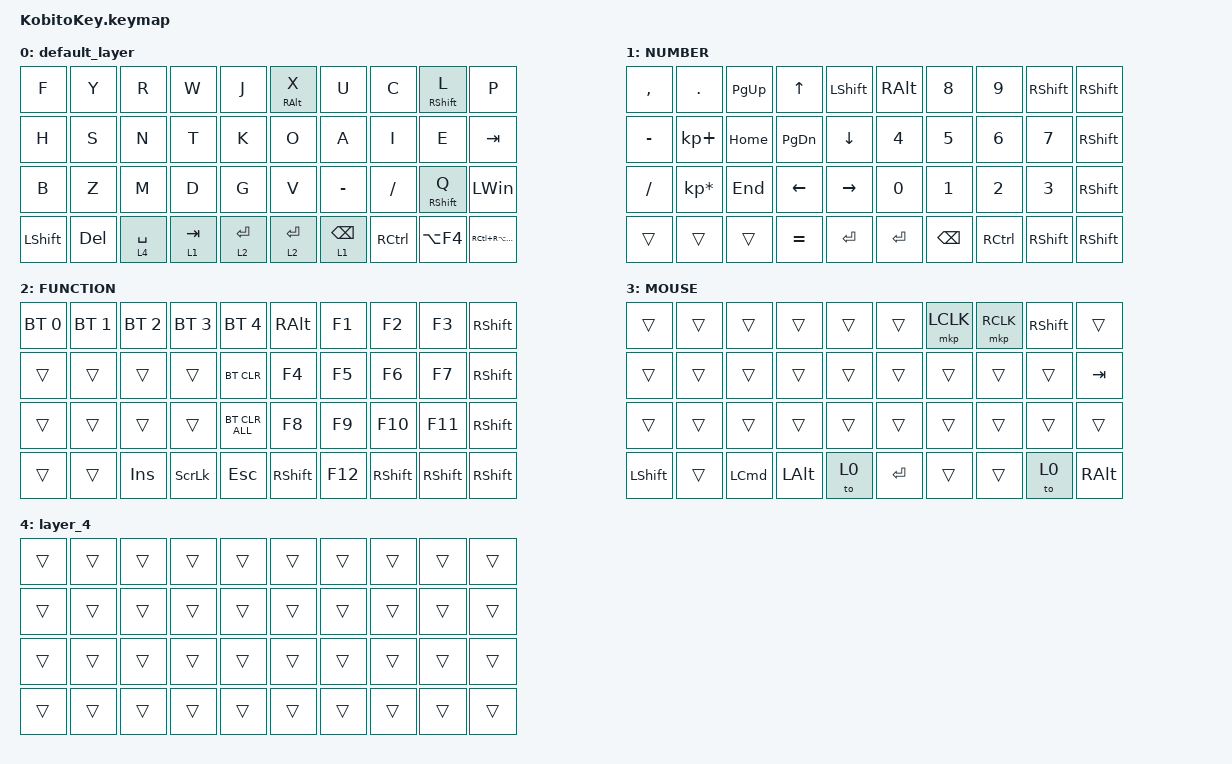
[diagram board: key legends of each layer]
#include <input/processors.dtsi>
#include <behaviors.dtsi>
#include <dt-bindings/zmk/bt.h>
#include <dt-bindings/zmk/keys.h>
#include <dt-bindings/zmk/pointing.h>

/ {
    combos {
        compatible = "zmk,combos";

        lang_kana {
            bindings = <&kp LANG1>;
            key-positions = <8 7>;
        };

        lang_eisu {
            bindings = <&kp LANG2>;
            key-positions = <28 27>;
        };
    };

    keymap {
        compatible = "zmk,keymap";

        default_layer {
            bindings = <
&kp F           &kp Y       &kp R        &kp W      &kp J        &mt RIGHT_ALT X  &kp U            &kp C      &mt RIGHT_SHIFT L  &kp P
&kp H           &kp S       &kp N        &kp T      &kp K        &kp O            &kp A            &kp I      &kp E              &kp TAB
&kp B           &kp Z       &kp M        &kp D      &kp G        &kp V            &kp MINUS        &kp SLASH  &mt RIGHT_SHIFT Q  &kp LEFT_WIN
&kp LEFT_SHIFT  &kp DELETE  &lt 4 SPACE  &lt 1 TAB  &lt 2 ENTER  &lt 2 ENTER      &lt 1 BACKSPACE  &kp RCTRL  &kp LA(F4)         &kp RC(RA(DELETE))
            >;
        };

        layer1 {
            label = "NUMBER";
            bindings = <
&kp COMMA  &kp PERIOD       &kp PAGE_UP  &kp UP_ARROW    &kp LEFT_SHIFT   &kp RIGHT_ALT  &kp N8         &kp N9     &kp RIGHT_SHIFT  &kp RIGHT_SHIFT
&kp MINUS  &kp KP_PLUS      &kp HOME     &kp PAGE_DOWN   &kp DOWN_ARROW   &kp N4         &kp N5         &kp N6     &kp N7           &kp RIGHT_SHIFT
&kp SLASH  &kp KP_MULTIPLY  &kp END      &kp LEFT_ARROW  &kp RIGHT_ARROW  &kp N0         &kp N1         &kp N2     &kp N3           &kp RIGHT_SHIFT
&trans     &trans           &trans       &kp EQUAL       &kp ENTER        &kp ENTER      &kp BACKSPACE  &kp RCTRL  &kp RIGHT_SHIFT  &kp RIGHT_SHIFT
            >;
        };

        layer2 {
            label = "FUNCTION";
            bindings = <
&bt BT_SEL 0  &bt BT_SEL 1  &bt BT_SEL 2  &bt BT_SEL 3    &bt BT_SEL 4    &kp RIGHT_ALT    &kp F1   &kp F2           &kp F3           &kp RIGHT_SHIFT
&trans        &trans        &trans        &trans          &bt BT_CLR      &kp F4           &kp F5   &kp F6           &kp F7           &kp RIGHT_SHIFT
&trans        &trans        &trans        &trans          &bt BT_CLR_ALL  &kp F8           &kp F9   &kp F10          &kp F11          &kp RIGHT_SHIFT
&trans        &trans        &kp INSERT    &kp SCROLLLOCK  &kp ESCAPE      &kp RIGHT_SHIFT  &kp F12  &kp RIGHT_SHIFT  &kp RIGHT_SHIFT  &kp RIGHT_SHIFT
            >;
        };

        layer3 {
            label = "MOUSE";
            bindings = <
&trans     &trans  &trans    &trans    &trans  &trans     &mkp LCLK  &mkp RCLK  &kp RIGHT_SHIFT  &trans
&trans     &trans  &trans    &trans    &trans  &trans     &trans     &trans     &trans           &kp TAB
&trans     &trans  &trans    &trans    &trans  &trans     &trans     &trans     &trans           &trans
&kp LSHFT  &trans  &kp LCMD  &kp LALT  &to 0   &kp ENTER  &trans     &trans     &to 0            &kp RALT
            >;
        };

        layer_4 {
            bindings = <
&trans  &trans  &trans  &trans  &trans  &trans  &trans  &trans  &trans  &trans
&trans  &trans  &trans  &trans  &trans  &trans  &trans  &trans  &trans  &trans
&trans  &trans  &trans  &trans  &trans  &trans  &trans  &trans  &trans  &trans
&trans  &trans  &trans  &trans  &trans  &trans  &trans  &trans  &trans  &trans
            >;
        };
    };
};
